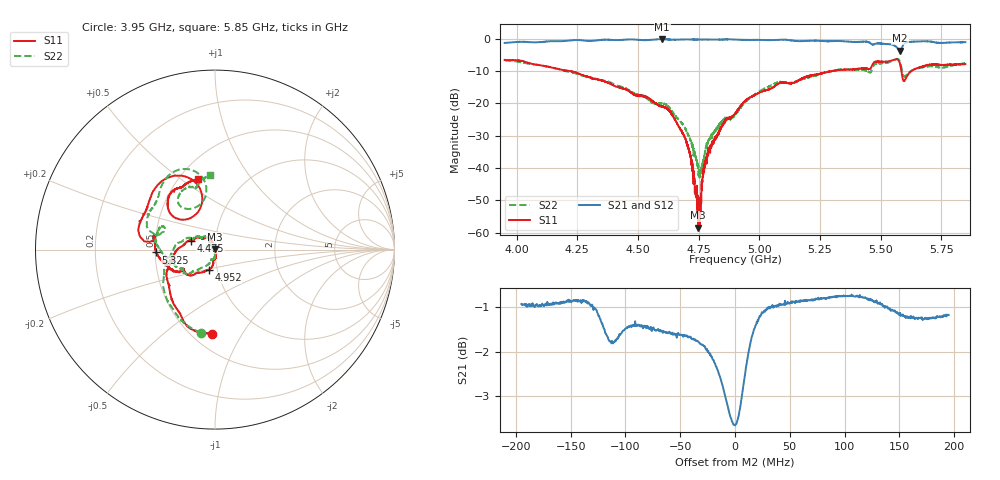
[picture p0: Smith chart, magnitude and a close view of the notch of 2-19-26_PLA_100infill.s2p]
# GHZ S RI R 50.000000000000
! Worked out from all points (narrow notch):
!   4501 points, 3.95 GHz to 5.85 GHz, reference 50 ohm
!   highest |S21| = -0.07 dB at 4.6 GHz (marker M1); lowest = -3.7 dB at 5.58 GHz (marker M2)
!   notch at M2: 3.1 dB deep, 32.5 MHz wide at half that depth
!   lowest |S11| = -58.4 dB at 4.748 GHz (marker M3), VSWR 1.00, Z = 49.9 + j0.0733 ohm
!   |S11| at or under -10 dB: 4.221 GHz to 5.297 GHz (1.075 GHz wide, 22.6 % of centre); 5.296963 GHz to 5.298508 GHz (1.545 MHz wide, 0.0292 % of centre); 5.586 GHz to 5.627 GHz (41.19 MHz wide, 0.735 % of centre)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
!   |S22| runs from -43.0 to -6.2 dB; largest |S21 - S12| = 0.017
!   S11 on the Smith chart (normalised r, x): 3.95 GHz: 0.62, -0.75; 4.475 GHz: 0.76, +0.08; 4.952 GHz: 0.91, -0.21; 5.325 GHz: 0.51, -0.02; 5.85 GHz: 0.62, +0.59
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3.95  -0.0161 -0.4727  0.8612 -0.0865  0.8486 -0.0947  -0.0785 -0.4626
4.127333  -0.2385 -0.2846  0.6609 -0.6303  0.6531 -0.6284  -0.2794 -0.2463
4.267089  -0.2594 -0.1006  0.2624 -0.9136  0.2615 -0.9239  -0.2631 -0.0656
4.475244  -0.1345 0.0499  -0.4081 -0.8903  -0.4153 -0.8938  -0.1355 0.0637
4.583756  -0.0709 0.0607  -0.7001 -0.6949  -0.6941 -0.6994  -0.0756 0.0642
4.5998  -0.0647 0.0629  -0.748 -0.6514  -0.7398 -0.6567  -0.0737 0.0684
4.696911  -0.00561 0.0271  -0.8987 -0.392  -0.8981 -0.3898  -0.0241 0.0314
4.719289  -0.00163 0.0132  -0.9263 -0.3231  -0.9255 -0.3201  -0.0175 0.0173
4.748  -0.000943 0.000735  -0.9473 -0.23  -0.9469 -0.2344  -0.011 -0.000885
4.761089  -0.00024 -0.0035  -0.9559 -0.194  -0.9555 -0.1947  -0.00464 -0.00822
4.772911  0.00161 -0.0109  -0.9619 -0.1565  -0.9611 -0.1565  -0.00202 -0.0142
4.795711  0.00277 -0.0199  -0.9715 -0.0849  -0.9724 -0.084  0.000269 -0.0281
4.9  -0.00895 -0.0678  -0.9405 0.256  -0.9453 0.2523  -0.0217 -0.0623
4.952356  -0.0354 -0.1122  -0.8809 0.3924  -0.8802 0.391  -0.0616 -0.0956
5.217089  -0.2536 -0.1068  -0.3192 0.8829  -0.3199 0.8767  -0.2548 -0.0542
5.324756  -0.3274 -0.0158  -0.0226 0.9277  -0.0125 0.9237  -0.3293 0.0387
5.465356  -0.3833 0.046  0.35 0.738  0.3417 0.7421  -0.3287 0.085
5.533756  -0.373 0.2541  0.4652 0.6867  0.4677 0.6859  -0.317 0.2976
5.5802  -0.1316 0.3924  0.3679 0.5431  0.3631 0.5428  -0.1042 0.4323
5.5992  -0.1454 0.172  0.431 0.7342  0.4234 0.7363  -0.1123 0.2335
5.694622  -0.2546 0.3007  0.756 0.5169  0.7554 0.5176  -0.1817 0.3281
5.85  -0.093 0.3958  0.8767 0.1485  0.874 0.1531  -0.0274 0.4176
